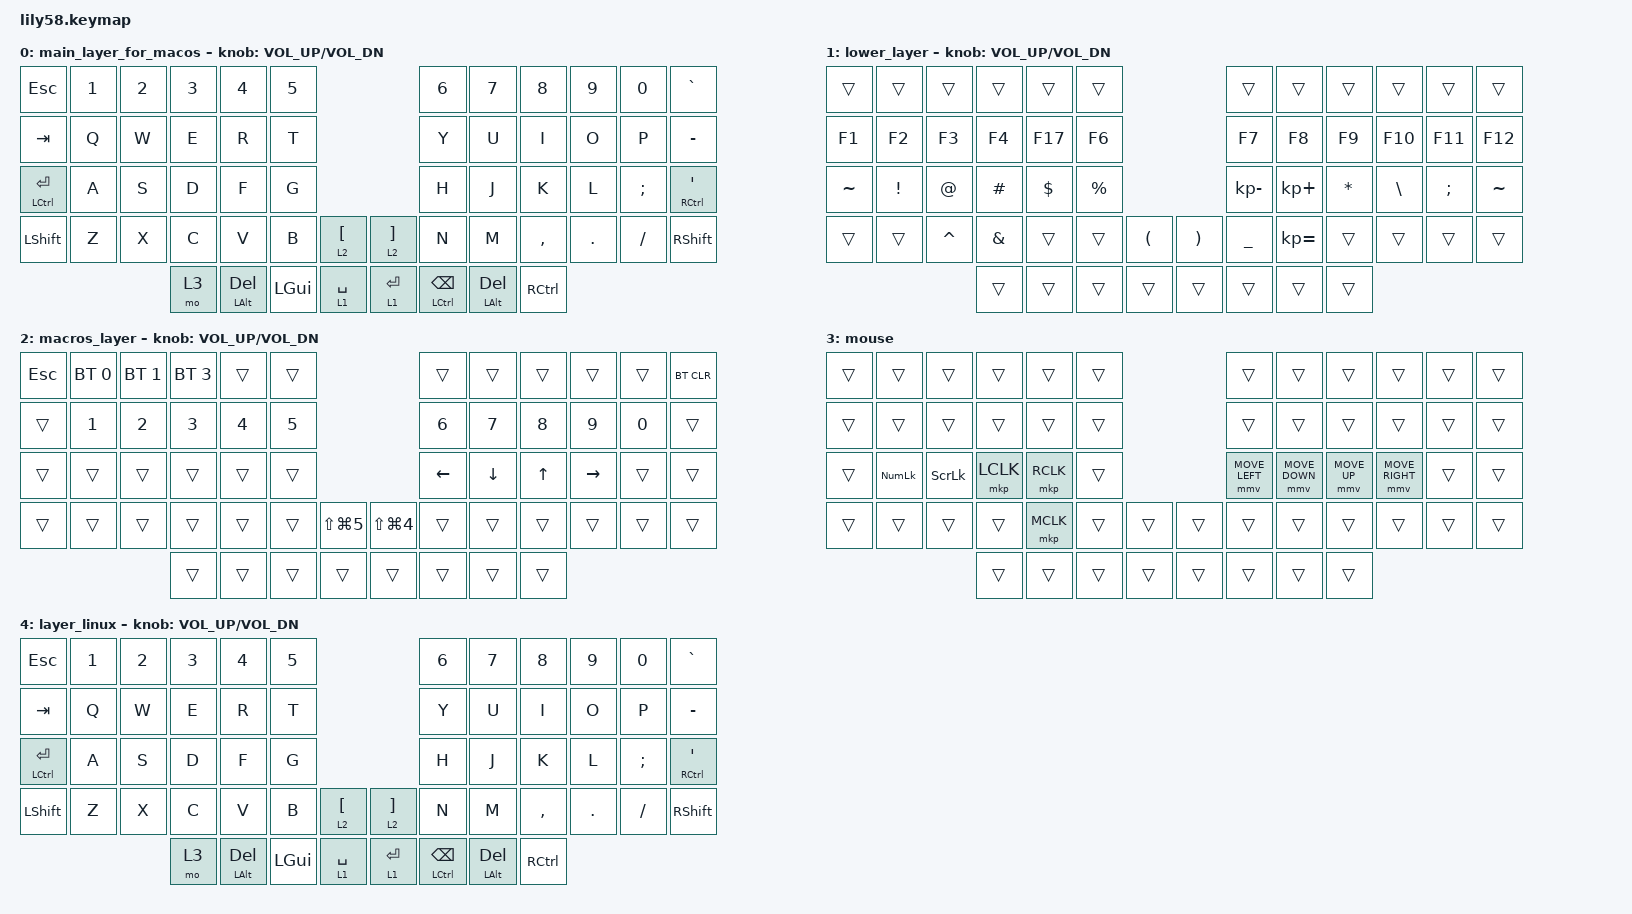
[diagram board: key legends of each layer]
/*
 * Copyright (c) 2020 The ZMK Contributors
 *
 * SPDX-License-Identifier: MIT
 */

#include <behaviors.dtsi>
#include <dt-bindings/zmk/bt.h>
#include <dt-bindings/zmk/keys.h>
#include <dt-bindings/zmk/pointing.h>

/ {
    combos {
        compatible = "zmk,combos";

        combo_esc {
            timeout-ms = <50>;
            key-positions = <0 1>;
            bindings = <&kp ESC>;
        };
    };

    behaviors {
        ss_hs_modmorph: ss_hs_modmorph {
            compatible = "zmk,behavior-mod-morph";
            label = "SS_HS_MODMORPH";
            bindings = <&kp M>, <&kp RIGHT_BRACKET>;

            #binding-cells = <0>;
            mods = <(MOD_LSFT|MOD_RSFT)>;
        };

        kh_hs_tapdance: kh_hs_tapdance {
            compatible = "zmk,behavior-tap-dance";
            label = "KH_HS_TAPDANCE";
            #binding-cells = <0>;
            tapping-term-ms = <200>;
            bindings = <&kp LEFT_BRACKET>, <&kp RIGHT_BRACKET>;
        };

        hrm: hrm {
            compatible = "zmk,behavior-hold-tap";
            #binding-cells = <2>;
            flavor = "tap-preferred";
            tapping-term-ms = <200>;
            quick-tap-ms = <200>;
            require-prior-idle-ms = <125>;
            bindings = <&kp>, <&kp>;
        };
    };

    keymap {
        compatible = "zmk,keymap";

        main_layer_for_macos {
            // ------------------------------------------------------------------------------------------------------------
            // |  ESC  |  1  |  2  |  3   |  4   |  5   |                   |  6   |  7    |  8    |  9   |   0   |   `   |
            // |  TAB  |  Q  |  W  |  E   |  R   |  T   |                   |  Y   |  U    |  I    |  O   |   P   |   -   |
            // |  CTRL |  A  |  S  |  D   |  F   |  G   |                   |  H   |  J    |  K    |  L   |   ;   |   '   |
            // | SHIFT |  Z  |  X  |  C   |  V   |  B   |   "["  |  |  "]"  |  N   |  M    |  ,    |  .   |   /   | SHIFT |
            //                     | ALT  | GUI  | LOWER|  SPACE |  | ENTER | RAISE| BSPC  | GUI   |

            bindings = <
&kp ESC                 &kp NUMBER_1  &kp N2  &kp N3  &kp N4           &kp N5                                               &kp N6                      &kp N7           &kp N8     &kp N9   &kp N0    &kp GRAVE
&kp TAB                 &kp Q         &kp W   &kp E   &kp R            &kp T                                                &kp Y                       &kp U            &kp I      &kp O    &kp P     &kp MINUS
&mt LEFT_CONTROL ENTER  &kp A         &kp S   &kp D   &kp F            &kp G                                                &kp H                       &kp J            &kp K      &kp L    &kp SEMI  &mt RIGHT_CONTROL SQT
&kp LSHFT               &kp Z         &kp X   &kp C   &kp V            &kp B     &lt 2 LEFT_BRACKET    &lt 2 RIGHT_BRACKET  &kp N                       &kp M            &kp COMMA  &kp DOT  &kp FSLH  &kp RSHFT
                                              &mo 3   &mt LALT DELETE  &kp LGUI  &lt 1 SPACE           &lt 1 ENTER          &mt LEFT_CONTROL BACKSPACE  &mt LALT DELETE  &kp RCTRL
            >;

            sensor-bindings = <&inc_dec_kp C_VOL_UP C_VOL_DN>;
        };

        lower_layer {
            // ------------------------------------------------------------------------------------------------------------
            // | BTCLR | BT1 | BT2 |  BT3 |  BT4 |  BT5 |                   |      |       |       |      |       |       |
            // |  F1   |  F2 |  F3 |  F4  |  F5  |  F6  |                   |  F7  |  F8   |  F9   |  F10 |  F11  |  F12  |
            // |   `   |  !  |  @  |  #   |  $   |  %   |                   |  ^   |  &    |  *    |  (   |   )   |   ~   |
            // |       |     |     |      |      |      |        |  |       |      |  _    |  +    |  {   |   }   |  "|"  |
            //                     |      |      |      |        |  |       |      |       |       |

            bindings = <
&trans     &trans           &trans       &trans         &trans      &trans                                                    &trans          &trans        &trans     &trans         &trans         &trans
&kp F1     &kp F2           &kp F3       &kp F4         &kp F17     &kp F6                                                    &kp F7          &kp F8        &kp F9     &kp F10        &kp F11        &kp F12
&kp TILDE  &kp EXCLAMATION  &kp AT_SIGN  &kp HASH       &kp DOLLAR  &kp PRCNT                                                 &kp KP_MINUS    &kp KP_PLUS   &kp ASTRK  &kp BACKSLASH  &kp SEMICOLON  &kp TILDE
&trans     &trans           &kp CARET    &kp AMPERSAND  &trans      &trans     &kp LEFT_PARENTHESIS    &kp RIGHT_PARENTHESIS  &kp UNDERSCORE  &kp KP_EQUAL  &trans     &trans         &trans         &trans
                                         &trans         &trans      &trans     &trans                  &trans                 &trans          &trans        &trans
            >;

            sensor-bindings = <&inc_dec_kp C_VOL_UP C_VOL_DN>;
        };

        macros_layer {
            // ------------------------------------------------------------------------------------------------------------
            // |       |     |     |      |      |      |                   |      |       |       |      |       |       |
            // |   `   |  1  |  2  |  3   |  4   |  5   |                   |  6   |   7   |   8   |  9   |   0   |       |
            // |   F1  |  F2 |  F3 |  F4  |  F5  |  F6  |                   |      |   <-  |   v   |  ^   |  ->   |       |
            // |   F7  |  F8 |  F9 |  F10 |  F11 |  F12 |        |  |       |  +   |   -   |   =   |  [   |   ]   |   \   |
            //                     |      |      |      |        |  |       |      |       |       |

            bindings = <
&kp ESCAPE  &bt BT_SEL 0  &bt BT_SEL 1  &bt BT_SEL 3  &trans  &trans                                          &trans    &trans          &trans        &trans           &trans  &bt BT_CLR
&trans      &kp N1        &kp N2        &kp N3        &kp N4  &kp N5                                          &kp N6    &kp N7          &kp N8        &kp N9           &kp N0  &trans
&trans      &trans        &trans        &trans        &trans  &trans                                          &kp LEFT  &kp DOWN_ARROW  &kp UP_ARROW  &kp RIGHT_ARROW  &trans  &trans
&trans      &trans        &trans        &trans        &trans  &trans  &kp LS(LG(N5))    &kp LS(LG(NUMBER_4))  &trans    &trans          &trans        &trans           &trans  &trans
                                        &trans        &trans  &trans  &trans            &trans                &trans    &trans          &trans
            >;

            sensor-bindings = <&inc_dec_kp C_VOL_UP C_VOL_DN>;
        };

        mouse {
            bindings = <
&trans  &trans          &trans          &trans     &trans     &trans                    &trans          &trans          &trans        &trans           &trans  &trans
&trans  &trans          &trans          &trans     &trans     &trans                    &trans          &trans          &trans        &trans           &trans  &trans
&trans  &kp KP_NUMLOCK  &kp SCROLLLOCK  &mkp LCLK  &mkp RCLK  &trans                    &mmv MOVE_LEFT  &mmv MOVE_DOWN  &mmv MOVE_UP  &mmv MOVE_RIGHT  &trans  &trans
&trans  &trans          &trans          &trans     &mkp MCLK  &trans  &trans    &trans  &trans          &trans          &trans        &trans           &trans  &trans
                                        &trans     &trans     &trans  &trans    &trans  &trans          &trans          &trans
            >;
        };

        layer_linux {
            bindings = <
&kp ESC                 &kp NUMBER_1  &kp N2  &kp N3  &kp N4           &kp N5                                               &kp N6                      &kp N7           &kp N8     &kp N9   &kp N0    &kp GRAVE
&kp TAB                 &kp Q         &kp W   &kp E   &kp R            &kp T                                                &kp Y                       &kp U            &kp I      &kp O    &kp P     &kp MINUS
&mt LEFT_CONTROL ENTER  &kp A         &kp S   &kp D   &kp F            &kp G                                                &kp H                       &kp J            &kp K      &kp L    &kp SEMI  &mt RIGHT_CONTROL SQT
&kp LSHFT               &kp Z         &kp X   &kp C   &kp V            &kp B     &lt 2 LEFT_BRACKET    &lt 2 RIGHT_BRACKET  &kp N                       &kp M            &kp COMMA  &kp DOT  &kp FSLH  &kp RSHFT
                                              &mo 3   &mt LALT DELETE  &kp LGUI  &lt 1 SPACE           &lt 1 ENTER          &mt LEFT_CONTROL BACKSPACE  &mt LALT DELETE  &kp RCTRL
            >;

            sensor-bindings = <&inc_dec_kp C_VOL_UP C_VOL_DN>;
        };
    };
};
